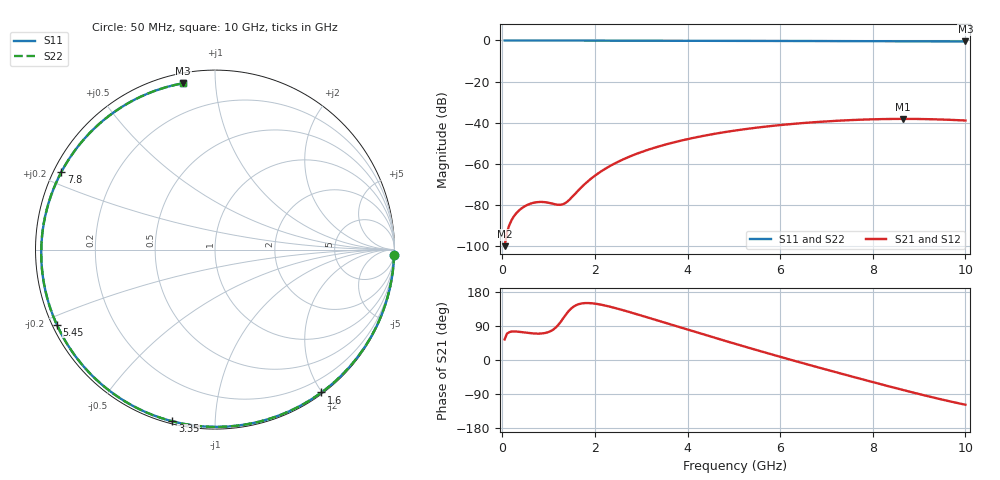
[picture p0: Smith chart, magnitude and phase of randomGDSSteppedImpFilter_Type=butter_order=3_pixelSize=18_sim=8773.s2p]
! freq	dB(S11)	phase(S11)	dB(S12)	phase(S12)
!  dB(S21)	phase(S21)	dB(S22)	phase(S22)
!S-par simulation data
#  GHz  S  DB  R 50
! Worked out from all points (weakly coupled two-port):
!   200 points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, 50 MHz to 10 GHz, reference 50 ohm
!   highest |S21| = -38.10 dB at 8.65 GHz (marker M1); lowest = -99.9 dB at 50 MHz (marker M2)
!   lowest |S11| = -0.5 dB at 10 GHz (marker M3), VSWR 34.44, Z = 2.44 + j41.2 ohm
!   |S11| at or under -10 dB: nowhere
!   |S22| runs from -0.5 to 0.0 dB; largest |S21 - S12| = 0
!   S11 on the Smith chart (normalised r, x): 50 MHz: 3, -69; 1.6 GHz: 0.02, -1.99; 3.35 GHz: 0.01, -0.78; 5.45 GHz: 0.01, -0.23; 7.8 GHz: 0.02, +0.24; 10 GHz: 0.05, +0.82
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0.05  -0.01 -1.7  -99.93 54.4  -99.93 54.4  -0.01 -1.7
0.5  -0.03 -17.1  -80.35 72.3  -80.35 72.3  -0.03 -17.1
0.85  -0.04 -28.9  -78.45 70.0  -78.45 70.0  -0.04 -28.9
1.25  -0.05 -42.1  -79.85 98.9  -79.85 98.9  -0.05 -42.1
1.4  -0.06 -46.9  -78.37 124.3  -78.37 124.3  -0.06 -46.9
1.6  -0.07 -53.3  -73.83 145.0  -73.83 145.0  -0.07 -53.3
1.75  -0.07 -58.0  -70.42 149.8  -70.42 149.8  -0.07 -58.0
2.05  -0.08 -67.2  -64.89 147.9  -64.89 147.9  -0.08 -67.2
2.4  -0.09 -77.6  -60.09 138.4  -60.09 138.4  -0.09 -77.6
2.85  -0.11 -90.4  -55.50 122.8  -55.50 122.8  -0.11 -90.4
3.35  -0.12 -103.9  -51.68 104.4  -51.68 104.4  -0.12 -103.9
3.4  -0.13 -105.2  -51.35 102.5  -51.35 102.5  -0.13 -105.2
4.25  -0.16 -126.7  -46.76 71.0  -46.76 71.0  -0.16 -126.7
5.05  -0.19 -145.5  -43.68 41.9  -43.68 41.9  -0.19 -145.5
5.45  -0.21 -154.6  -42.48 27.7  -42.48 27.7  -0.21 -154.6
6.05  -0.25 -168.0  -41.00 6.7  -41.00 6.7  -0.25 -168.0
6.7  -0.29 177.7  -39.77 -15.4  -39.77 -15.4  -0.29 177.7
7.8  -0.36 153.3  -38.44 -51.8  -38.44 -51.8  -0.36 153.3
8.35  -0.40 140.8  -38.15 -69.6  -38.15 -69.6  -0.40 140.8
8.65  -0.42 133.8  -38.10 -79.1  -38.10 -79.1  -0.42 133.8
9.35  -0.47 117.1  -38.32 -100.2  -38.32 -100.2  -0.47 117.1
10  -0.50 100.9  -38.89 -118.1  -38.89 -118.1  -0.50 100.9
